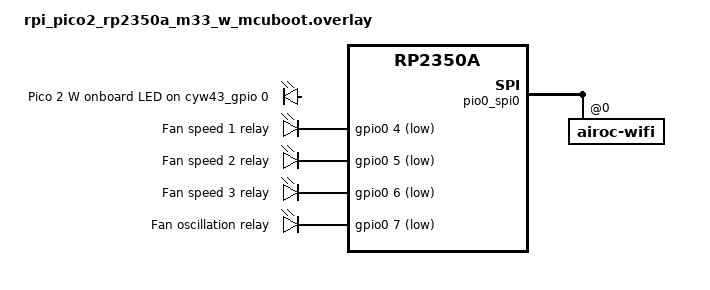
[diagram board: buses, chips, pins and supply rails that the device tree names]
#include <zephyr/dt-bindings/gpio/gpio.h>

/*
 * The regular rpi_pico2/rp2350a/m33/w DTS declares this CYW43439 GPIO
 * controller, but the /w/mcuboot DTS currently omits it. Recreate the same
 * child node so the onboard LED and Pico-specific Wi-Fi setup remain usable.
 */
&pio0_spi0 {
	airoc-wifi@0 {
		cyw43_gpio: gpio {
			compatible = "infineon,cyw43-gpio";
			gpio-controller;
			#gpio-cells = <2>;
			ngpios = <3>;
		};
	};
};

/ {
	aliases {
		led0 = &onboard_led;
		fan-speed-1-relay = &fan_speed_1_relay;
		fan-speed-2-relay = &fan_speed_2_relay;
		fan-speed-3-relay = &fan_speed_3_relay;
		fan-osc-relay = &fan_osc_relay;
	};

	status_leds {
		compatible = "gpio-leds";

		onboard_led: onboard_led {
			gpios = <&cyw43_gpio 0 GPIO_ACTIVE_HIGH>;
			label = "Pico 2 W onboard LED";
		};
	};

	relays {
		compatible = "gpio-leds";

		fan_speed_1_relay: fan_speed_1_relay {
			gpios = <&gpio0 4 GPIO_ACTIVE_LOW>;
			label = "Fan speed 1 relay";
		};

		fan_speed_2_relay: fan_speed_2_relay {
			gpios = <&gpio0 5 GPIO_ACTIVE_LOW>;
			label = "Fan speed 2 relay";
		};

		fan_speed_3_relay: fan_speed_3_relay {
			gpios = <&gpio0 6 GPIO_ACTIVE_LOW>;
			label = "Fan speed 3 relay";
		};

		fan_osc_relay: fan_osc_relay {
			gpios = <&gpio0 7 GPIO_ACTIVE_LOW>;
			label = "Fan oscillation relay";
		};
	};
};

